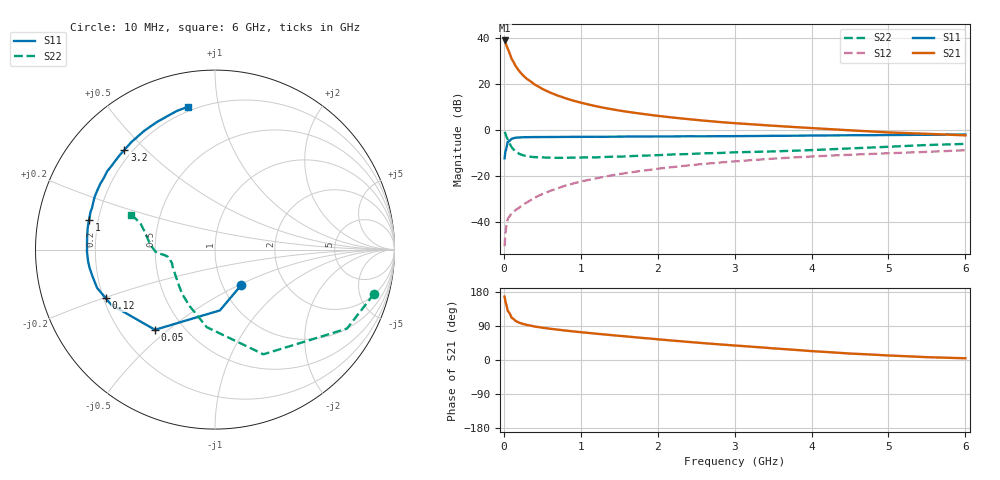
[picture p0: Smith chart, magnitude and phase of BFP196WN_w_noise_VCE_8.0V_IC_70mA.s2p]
! Infineon Technologies  Discrete & RF Semiconductors
! BFP196WN
! VCE =  8.0 V,  IC =  70 mA
! Common Emitter S-Parameters:  Jan 2017
# GHz  S  MA  R  50
!  f  S11  S21  S12  S22
! GHz  MAG  ANG  MAG  ANG  MAG  ANG  MAG  ANG
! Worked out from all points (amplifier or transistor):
!   77 points, 10 MHz to 6 GHz, reference 50 ohm
!   highest |S21| = 39.1 dB at 10 MHz (marker M1)
!   |S21| within 3 dB of that: start of sweep to 43.34 MHz
!   unconditionally stable (mu >= 1): 580.4 MHz to 2.641 GHz
!   at 130 MHz: K = 0.60, MSG = 32.4 dB, |S12| = -35.3 dB
!   at 2.2 GHz: K = 1.02, MAG = 10.0 dB, |S12| = -16.0 dB
!   at 6 GHz: K = 0.90, MSG = 3.2 dB, |S12| = -8.7 dB
!   lowest NFmin = 1.47 dB at 450 MHz
!   S11 on the Smith chart (normalised r, x): 10 MHz: 1.23, -0.51; 50 MHz: 0.35, -0.45; 120 MHz: 0.21, -0.20; 1 GHz: 0.16, +0.11; 3.2 GHz: 0.17, +0.43; 6 GHz: 0.18, +0.81
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0.01  0.2455 -53.1  90.61 167.2  0.003 78.6  0.9191 -15.6
0.02  0.3399 -85.4  82.25 154.7  0.0057 75.1  0.8569 -30.9
0.05  0.558 -126.8  60.36 129.9  0.0116 55.5  0.6426 -65.2
0.1  0.6543 -151.9  36.43 111.7  0.0154 50.7  0.4347 -96.0
0.12  0.6664 -156.1  32.01 109.1  0.0165 51.3  0.3947 -102.2
0.15  0.6908 -162.0  25.57 103.4  0.0182 52.0  0.3458 -114.0
0.2  0.699 -167.9  19.47 98.5  0.0207 55.7  0.3085 -126.1
0.25  0.7061 -171.7  15.72 95.0  0.0241 57.9  0.2866 -133.9
0.3  0.7101 -174.7  13.18 92.5  0.0269 60.6  0.272 -140.7
0.4  0.7133 -179.0  9.965 88.3  0.0338 64.7  0.2606 -148.9
0.5  0.7135 177.7  7.982 85.2  0.0409 66.8  0.2566 -154.6
0.6  0.7154 175.0  6.669 82.5  0.0477 68.2  0.2541 -158.9
0.8  0.7194 170.6  5.005 77.7  0.0625 70.0  0.2521 -163.4
1  0.721 166.6  4.009 73.4  0.0765 69.8  0.2558 -167.0
1.1  0.7225 164.9  3.648 71.5  0.0831 69.6  0.257 -168.2
1.5  0.7287 158.2  2.697 63.8  0.1112 67.9  0.2678 -171.9
2.1  0.7366 148.6  1.981 52.9  0.1522 64.1  0.293 -174.6
3.1  0.7489 133.7  1.395 36.9  0.2167 56.0  0.335 -178.8
3.2  0.7506 132.3  1.36 35.4  0.2229 55.1  0.338 -179.5
4.1  0.7718 119.5  1.095 22.2  0.2742 47.5  0.3772 171.4
5.1  0.7915 108.8  0.888 11.1  0.3211 39.8  0.4465 160.3
6  0.8096 100.9  0.777 4.5  0.3685 33.9  0.5066 157.8
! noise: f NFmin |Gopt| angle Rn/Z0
0.45  1.47  0.57  -176  0.05
0.9  1.6  0.58  -169  0.06
1.9  2.54  0.7  -147  0.19
2.4  3.34  0.71  -139  0.32
